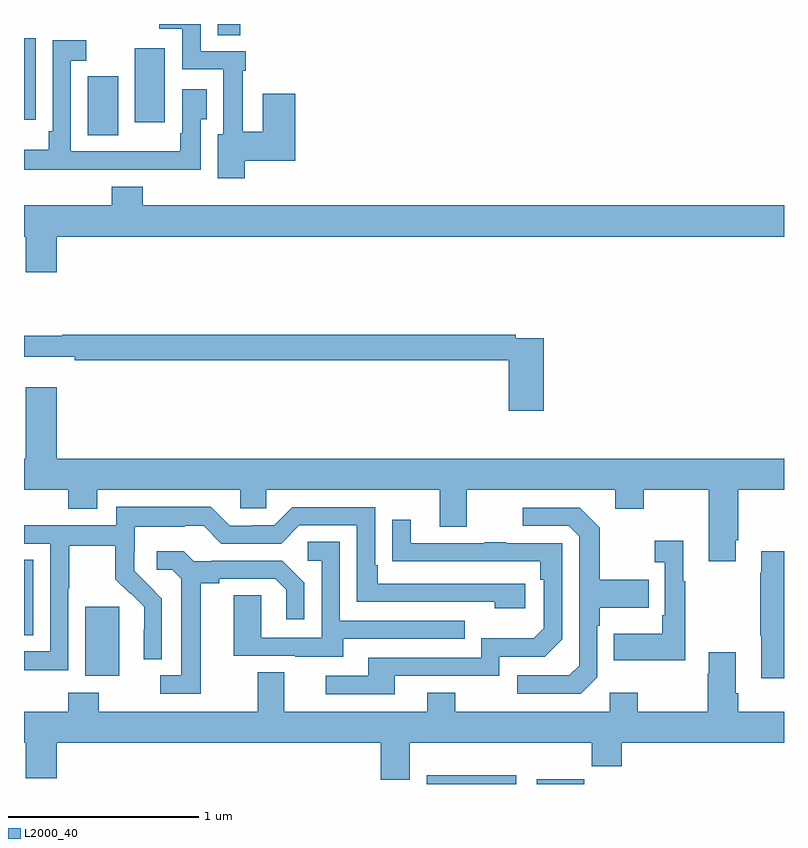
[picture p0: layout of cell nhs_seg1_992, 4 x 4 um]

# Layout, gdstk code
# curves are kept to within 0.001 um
import gdstk
lib = gdstk.Library(unit=1e-6, precision=1e-09)
def R(c, l, rs):  # rectangles x0, y0, x1, y1
    for r in rs: c.add(gdstk.rectangle(r[:2], r[2:], *l))
def P(c, l, *ps):  # polygons
    for p in ps: c.add(gdstk.Polygon(p, *l))
L2000_40 = (2000, 40)

nhs_seg1_992 = lib.new_cell('nhs_seg1_992')
R(nhs_seg1_992, L2000_40, [(167.12,534.199,167.59,534.244), (167.699,534.199,167.948,534.223), (165.323,534.77,165.502,535.131), (165,534.982,165.049,535.379), (165.335,537.613,165.496,537.924), (165.584,537.683,165.742,538.072), (165,537.696,165.061,538.123), (166.019,538.141,166.138,538.199)])
P(nhs_seg1_992, L2000_40, [(166.163,537.479),(166.427,537.479),(166.427,537.832),(166.256,537.832),(166.256,537.632),(166.15,537.632),(166.15,537.953),(166.168,537.953),(166.168,538.056),(165.93,538.056),(165.93,538.199),(165.711,538.199),(165.711,538.173),(165.834,538.173),(165.834,537.96),(166.049,537.96),(166.049,537.619),(166.019,537.619),(166.019,537.387),(166.163,537.387)],
  [(165.343,537.432),(165.709,537.432),(165.709,537.431),(165.93,537.431),(165.93,537.697),(165.961,537.697),(165.961,537.856),(165.834,537.856),(165.834,537.625),(165.822,537.625),(165.822,537.529),(165.592,537.529),(165.592,537.528),(165.246,537.528),(165.246,538.005),(165.328,538.005),(165.328,538.114),(165.15,538.114),(165.15,537.634),(165.13,537.634),(165.13,537.538),(165,537.538),(165,537.431),(165.343,537.431)],
  [(165.172,537.08),(169,537.08),(169,537.244),(165.626,537.244),(165.626,537.343),(165.461,537.343),(165.461,537.244),(165,537.244),(165,537.08),(165.008,537.08),(165.008,536.892),(165.172,536.892)],
  [(167.735,536.544),(167.588,536.544),(167.588,536.564),(165.201,536.564),(165.201,536.557),(165,536.557),(165,536.447),(165.268,536.447),(165.268,536.428),(167.552,536.428),(167.552,536.163),(167.735,536.163)],
  [(165.172,536.287),(165.008,536.287),(165.008,535.912),(165,535.912),(165,535.748),(165.233,535.748),(165.233,535.649),(165.385,535.649),(165.385,535.748),(166.137,535.748),(166.137,535.65),(166.275,535.65),(166.275,535.748),(167.189,535.748),(167.189,535.554),(167.329,535.554),(167.329,535.748),(168.113,535.748),(168.113,535.649),(168.261,535.649),(168.261,535.748),(168.605,535.748),(168.605,535.371),(168.745,535.371),(168.745,535.483),(168.758,535.483),(168.758,535.748),(169,535.748),(169,535.912),(165.172,535.912)],
  [(165.234,535.228),(165.237,535.228),(165.237,535.452),(165.481,535.452),(165.481,535.277),(165.558,535.2),(165.561,535.203),(165.632,535.133),(165.632,535.01),(165.63,535.01),(165.63,534.856),(165.726,534.856),(165.726,535.174),(165.58,535.322),(165.58,535.419),(165.582,535.419),(165.582,535.553),(165.845,535.553),(165.845,535.557),(165.945,535.557),(166.038,535.464),(166.353,535.464),(166.449,535.56),(166.752,535.56),(166.752,535.158),(167.477,535.158),(167.477,535.124),(167.638,535.124),(167.638,535.254),(166.861,535.254),(166.861,535.351),(166.848,535.351),(166.848,535.656),(166.413,535.656),(166.317,535.56),(166.199,535.56),(166.199,535.557),(166.083,535.557),(165.983,535.657),(165.486,535.657),(165.486,535.56),(165,535.56),(165,535.464),(165.138,535.464),(165.138,534.897),(165,534.897),(165,534.799),(165.234,534.799)],
  [(168.018,534.762),(168.018,535.031),(168.031,535.031),(168.031,535.127),(168.287,535.127),(168.287,535.275),(168.031,535.275),(168.031,535.547),(167.925,535.653),(167.625,535.653),(167.625,535.557),(167.868,535.557),(167.922,535.503),(167.922,534.822),(167.871,534.771),(167.595,534.771),(167.595,534.675),(167.931,534.675)],
  [(166.951,534.768),(167.502,534.768),(167.502,534.87),(167.742,534.87),(167.832,534.96),(167.832,535.467),(167.537,535.467),(167.537,535.472),(167.425,535.472),(167.425,535.467),(167.035,535.467),(167.035,535.591),(166.939,535.591),(166.939,535.372),(167.716,535.371),(167.716,535.274),(167.736,535.274),(167.736,535.02),(167.683,534.967),(167.406,534.967),(167.406,534.864),(166.811,534.864),(166.811,534.768),(166.587,534.768),(166.587,534.672),(166.951,534.672)],
  [(168.481,535.267),(168.469,535.267),(168.469,535.48),(168.321,535.48),(168.321,535.367),(168.372,535.367),(168.372,535.087),(168.36,535.087),(168.36,534.991),(168.103,534.991),(168.103,534.851),(168.481,534.851)],
  [(166.681,534.963),(167.321,534.963),(167.321,535.059),(166.662,535.059),(166.662,535.475),(166.494,535.475),(166.494,535.374),(166.566,535.374),(166.566,534.969),(166.248,534.969),(166.248,535.193),(166.103,535.193),(166.103,534.873),(166.427,534.873),(166.427,534.869),(166.681,534.869)],
  [(169,535.423),(168.881,535.423),(168.881,535.31),(168.874,535.31),(168.874,534.979),(168.881,534.979),(168.881,534.756),(169,534.756)],
  [(165.931,535.256),(166.027,535.256),(166.027,535.278),(166.322,535.278),(166.379,535.221),(166.379,535.065),(166.476,535.065),(166.476,535.258),(166.36,535.374),(165.988,535.374),(165.988,535.371),(165.894,535.371),(165.842,535.423),(165.699,535.423),(165.699,535.326),(165.78,535.326),(165.827,535.279),(165.827,534.771),(165.717,534.771),(165.717,534.675),(165.931,534.675)],
  [(167.029,534.416),(167.989,534.416),(167.989,534.292),(168.146,534.292),(168.146,534.416),(169,534.416),(169,534.58),(168.758,534.58),(168.758,534.676),(168.745,534.676),(168.745,534.892),(168.605,534.892),(168.605,534.779),(168.598,534.779),(168.598,534.58),(168.231,534.58),(168.231,534.679),(168.084,534.679),(168.084,534.58),(167.271,534.58),(167.271,534.679),(167.123,534.679),(167.123,534.58),(166.369,534.58),(166.369,534.788),(166.229,534.788),(166.229,534.58),(165.393,534.58),(165.393,534.679),(165.233,534.679),(165.233,534.58),(165,534.58),(165,534.416),(165.008,534.416),(165.008,534.228),(165.172,534.228),(165.172,534.416),(166.877,534.416),(166.877,534.222),(167.029,534.222)])

lib.write_gds('nhs_seg1_992.gds')
